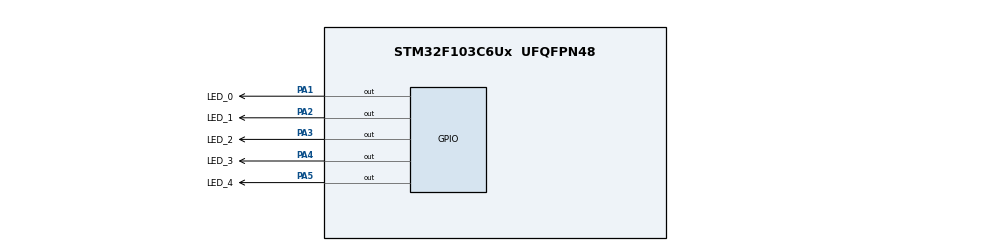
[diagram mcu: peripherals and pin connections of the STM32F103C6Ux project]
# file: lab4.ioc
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Mcu.Family=STM32F1
Mcu.Name=STM32F103C6Ux
Mcu.Package=UFQFPN48
NVIC.PriorityGroup=NVIC_PRIORITYGROUP_4
NVIC.TIM2_IRQn=true\:0\:0\:false\:false\:true\:true\:true
PA1.GPIO_Label=LED_0
PA1.Signal=GPIO_Output
PA2.GPIO_Label=LED_1
PA2.Signal=GPIO_Output
PA3.GPIO_Label=LED_2
PA3.Signal=GPIO_Output
PA4.GPIO_Label=LED_3
PA4.Signal=GPIO_Output
PA5.GPIO_Label=LED_4
PA5.Signal=GPIO_Output
ProjectManager.HeapSize=0x200
ProjectManager.StackSize=0x400
ProjectManager.TargetToolchain=STM32CubeIDE
RCC.APB1Freq_Value=8000000
RCC.APB2Freq_Value=8000000
TIM2.Period=9
TIM2.Prescaler=7999
VP_SYS_VS_ND.Mode=No_Debug
VP_TIM2_VS_ClockSourceINT.Mode=Internal
board=custom

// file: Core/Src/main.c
/* USER CODE BEGIN Header */
/**
  ******************************************************************************
  * @file           : main.c
  * @brief          : Main program body
  ******************************************************************************
  * @attention
  *
  * <h2><center>&copy; Copyright (c) 2022 STMicroelectronics.
  * All rights reserved.</center></h2>
  *
  * This software component is licensed by ST under BSD 3-Clause license,
  * the "License"; You may not use this file except in compliance with the
  * License. You may obtain a copy of the License at:
  *                        opensource.org/licenses/BSD-3-Clause
  *
  ******************************************************************************
  */
/* USER CODE END Header */
#include "main.h"

/* USER CODE BEGIN Includes */
#include "scheduler.h"
/* USER CODE END Includes */

TIM_HandleTypeDef htim2;

void SystemClock_Config(void);
static void MX_GPIO_Init(void);
static void MX_TIM2_Init(void);

/* USER CODE BEGIN 0 */

void led_1shot()
{
	HAL_GPIO_TogglePin(LED_0_GPIO_Port, LED_0_Pin);
}
void led_1()
{
	HAL_GPIO_TogglePin(LED_1_GPIO_Port, LED_1_Pin);
}
void led_2()
{
	HAL_GPIO_TogglePin(LED_2_GPIO_Port, LED_2_Pin);
}
void led_3()
{
	HAL_GPIO_TogglePin(LED_3_GPIO_Port, LED_3_Pin);
}
void led_4()
{
	HAL_GPIO_TogglePin(LED_4_GPIO_Port, LED_4_Pin);
}
/* USER CODE END 0 */

int main(void)
{

  /* MCU Configuration--------------------------------------------------------*/

  /* Reset of all peripherals, Initializes the Flash interface and the Systick. */
  HAL_Init();

  /* Configure the system clock */
  SystemClock_Config();

  /* Initialize all configured peripherals */
  MX_GPIO_Init();
  MX_TIM2_Init();
  /* USER CODE BEGIN 2 */
  HAL_TIM_Base_Start_IT(&htim2);
  /* USER CODE END 2 */

  /* Infinite loop */
  /* USER CODE BEGIN WHILE */
  SCH_INIT();

  SCH_Add_Tasks(led_1,100, 100);
  SCH_Add_Tasks(led_2, 110, 100);
  SCH_Add_Tasks(led_3, 120, 100);
  SCH_Add_Tasks(led_4, 130, 100);
  SCH_Add_Tasks(led_1shot, 550, 0);
  while (1)
  {
	  SCH_Dispatch_Tasks();
    /* USER CODE END WHILE */

  }
}

void SystemClock_Config(void)
{
  RCC_OscInitTypeDef RCC_OscInitStruct = {0};
  RCC_ClkInitTypeDef RCC_ClkInitStruct = {0};

  /** Initializes the RCC Oscillators according to the specified parameters
  * in the RCC_OscInitTypeDef structure.
  */
  RCC_OscInitStruct.OscillatorType = RCC_OSCILLATORTYPE_HSI;
  RCC_OscInitStruct.HSIState = RCC_HSI_ON;
  RCC_OscInitStruct.HSICalibrationValue = RCC_HSICALIBRATION_DEFAULT;
  RCC_OscInitStruct.PLL.PLLState = RCC_PLL_NONE;
  if (HAL_RCC_OscConfig(&RCC_OscInitStruct) != HAL_OK)
  {
    Error_Handler();
  }
  /** Initializes the CPU, AHB and APB buses clocks
  */
  RCC_ClkInitStruct.ClockType = RCC_CLOCKTYPE_HCLK|RCC_CLOCKTYPE_SYSCLK
                              |RCC_CLOCKTYPE_PCLK1|RCC_CLOCKTYPE_PCLK2;
  RCC_ClkInitStruct.SYSCLKSource = RCC_SYSCLKSOURCE_HSI;
  RCC_ClkInitStruct.AHBCLKDivider = RCC_SYSCLK_DIV1;
  RCC_ClkInitStruct.APB1CLKDivider = RCC_HCLK_DIV1;
  RCC_ClkInitStruct.APB2CLKDivider = RCC_HCLK_DIV1;

  if (HAL_RCC_ClockConfig(&RCC_ClkInitStruct, FLASH_LATENCY_0) != HAL_OK)
  {
    Error_Handler();
  }
}

static void MX_TIM2_Init(void)
{

  TIM_ClockConfigTypeDef sClockSourceConfig = {0};
  TIM_MasterConfigTypeDef sMasterConfig = {0};

  htim2.Instance = TIM2;
  htim2.Init.Prescaler = 7999;
  htim2.Init.CounterMode = TIM_COUNTERMODE_UP;
  htim2.Init.Period = 9;
  htim2.Init.ClockDivision = TIM_CLOCKDIVISION_DIV1;
  htim2.Init.AutoReloadPreload = TIM_AUTORELOAD_PRELOAD_DISABLE;
  if (HAL_TIM_Base_Init(&htim2) != HAL_OK)
  {
    Error_Handler();
  }
  sClockSourceConfig.ClockSource = TIM_CLOCKSOURCE_INTERNAL;
  if (HAL_TIM_ConfigClockSource(&htim2, &sClockSourceConfig) != HAL_OK)
  {
    Error_Handler();
  }
  sMasterConfig.MasterOutputTrigger = TIM_TRGO_RESET;
  sMasterConfig.MasterSlaveMode = TIM_MASTERSLAVEMODE_DISABLE;
  if (HAL_TIMEx_MasterConfigSynchronization(&htim2, &sMasterConfig) != HAL_OK)
  {
    Error_Handler();
  }

}

static void MX_GPIO_Init(void)
{
  GPIO_InitTypeDef GPIO_InitStruct = {0};

  /* GPIO Ports Clock Enable */
  __HAL_RCC_GPIOA_CLK_ENABLE();

  /*Configure GPIO pin Output Level */
  HAL_GPIO_WritePin(GPIOA, LED_0_Pin|LED_1_Pin|LED_2_Pin|LED_3_Pin
                          |LED_4_Pin, GPIO_PIN_RESET);

  /*Configure GPIO pins : LED_0_Pin LED_1_Pin LED_2_Pin LED_3_Pin
                           LED_4_Pin */
  GPIO_InitStruct.Pin = LED_0_Pin|LED_1_Pin|LED_2_Pin|LED_3_Pin
                          |LED_4_Pin;
  GPIO_InitStruct.Mode = GPIO_MODE_OUTPUT_PP;
  GPIO_InitStruct.Pull = GPIO_NOPULL;
  GPIO_InitStruct.Speed = GPIO_SPEED_FREQ_LOW;
  HAL_GPIO_Init(GPIOA, &GPIO_InitStruct);

}

/* USER CODE BEGIN 4 */
void HAL_TIM_PeriodElapsedCallback ( TIM_HandleTypeDef * htim )
{
	SCH_Update();

}
/* USER CODE END 4 */

void Error_Handler(void)
{
  __disable_irq();
  while (1)
  {
  }
}

/************************ (C) COPYRIGHT STMicroelectronics *****END OF FILE****/
